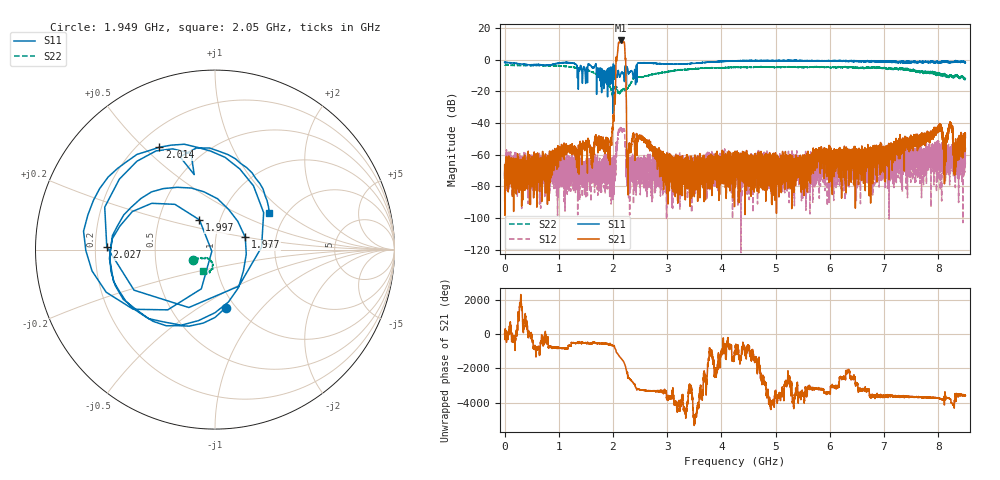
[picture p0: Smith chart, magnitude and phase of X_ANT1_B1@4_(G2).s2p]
#  HZ  S  RI  R  50.00
! Rohde & Schwarz Vector Network Analyzer
! Rohde-Schwarz,ZNBT8-20Port,1318700624101681,3.50
! Created: UTC 7/15/2025, 2:09:09 PM
! freq[Hz]  re:S1010  im:S1010  re:S0410  im:S0410  re:S1004  im:S1004  re:S44  im:S44
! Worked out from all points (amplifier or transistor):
!   8500 points, 1 MHz to 8.5 GHz, reference 50 ohm
!   highest |S21| = 12.2 dB at 2.144 GHz (marker M1)
!   |S21| within 3 dB of that: 2.095 GHz to 2.215 GHz (119.9 MHz wide, 5.56 % of centre)
!   unconditionally stable (mu >= 1): start of sweep to end of sweep
!   at 1.417 GHz: K = 549352.63, MAG = -57.1 dB, |S12| = -66.8 dB
!   at 4.251 GHz: K = 43607.18, MAG = -47.6 dB, |S12| = -61.4 dB
!   at 8.5 GHz: K = 32956.12, MAG = -44.1 dB, |S12| = -57.3 dB
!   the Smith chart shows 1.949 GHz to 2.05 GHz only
!   S11 on the Smith chart (normalised r, x): 1.949 GHz: 0.90, -0.65; 1.977 GHz: 1.39, +0.20; 1.997 GHz: 0.80, +0.27; 2.014 GHz: 0.28, +0.56; 2.027 GHz: 0.25, +0.01; 2.05 GHz: 1.64, +0.78
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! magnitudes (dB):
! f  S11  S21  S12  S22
! 1 MHz  -1.7  -74.8  -73.7  -3.3
! 1.418 GHz  -5.1  -57.3  -70.7  -5.7
! 1.949 GHz  -9.7  -55.1  -71.7  -17.5
! 1.977 GHz  -14.8  -51.1  -63.3  -20.8
! 1.997 GHz  -14.6  -43.1  -88.4  -23.8
! 2.014 GHz  -3.8  -38.3  -60.5  -22.3
! 2.027 GHz  -4.4  -22.2  -67.9  -19.1
! 2.05 GHz  -8.7  -11.3  -63.8  -17.2
! 2.093 GHz  -7.1  8.5  -47.3  -20.8
! 2.144 GHz  -9.0  12.2  -43.2  -19.9
! 2.205 GHz  -10.6  10.9  -44.4  -18.1
! 2.293 GHz  -8.5  -59.1  -66.0  -16.4
! 2.511 GHz  -1.9  -48.8  -69.6  -10.9
! 2.834 GHz  -2.5  -63.5  -63.6  -8.5
! 4.251 GHz  -0.7  -57.7  -61.4  -4.8
! 5.667 GHz  -0.4  -59.0  -63.2  -4.5
! 7.084 GHz  -1.0  -64.5  -59.7  -5.3
! 8.016 GHz  -1.6  -42.0  -66.7  -8.8
! 8.126 GHz  -1.1  -62.6  -57.5  -9.6
! 8.228 GHz  -1.7  -40.6  -65.7  -10.8
! 8.321 GHz  -0.4  -58.6  -64.8  -10.1
! 8.5 GHz  -1.8  -49.2  -57.3  -12.1
